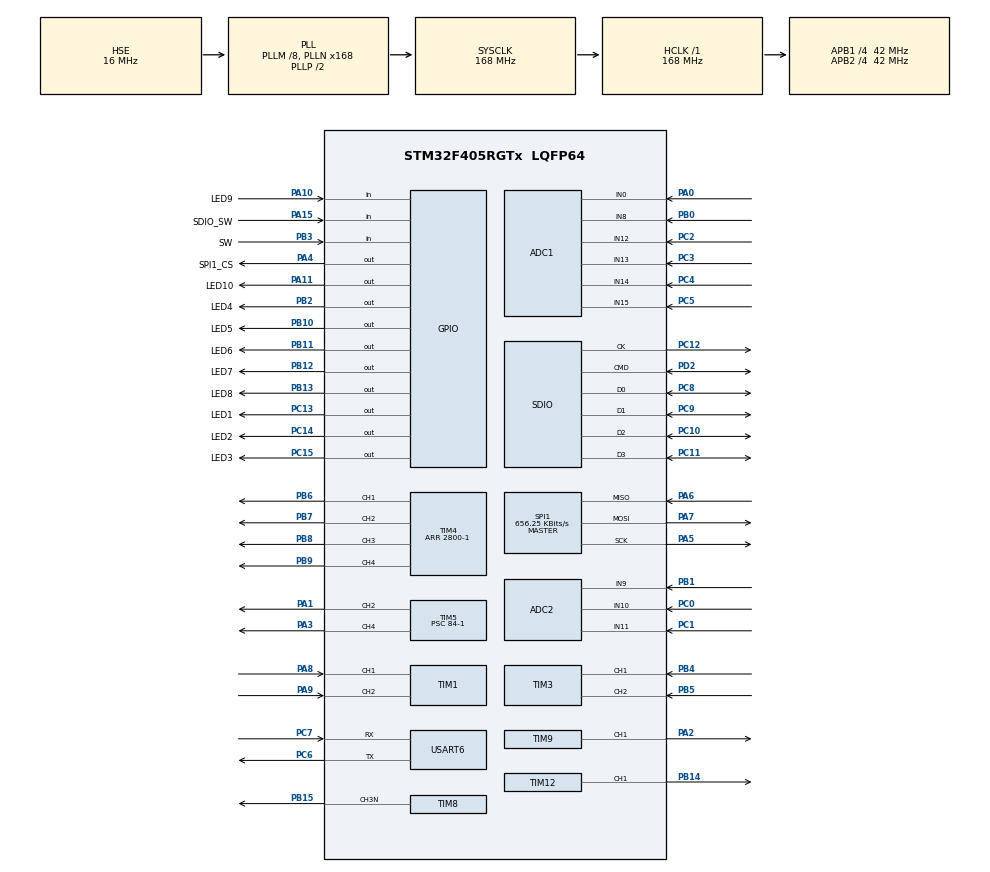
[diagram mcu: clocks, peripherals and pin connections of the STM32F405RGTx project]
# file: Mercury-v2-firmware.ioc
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ADC1.Channel-0\#ChannelRegularConversion=ADC_CHANNEL_14
ADC1.Channel-1\#ChannelRegularConversion=ADC_CHANNEL_15
ADC1.Channel-2\#ChannelRegularConversion=ADC_CHANNEL_8
ADC1.Channel-3\#ChannelRegularConversion=ADC_CHANNEL_0
ADC1.Channel-4\#ChannelRegularConversion=ADC_CHANNEL_13
ADC1.Channel-5\#ChannelRegularConversion=ADC_CHANNEL_12
ADC1.ClockPrescaler=ADC_CLOCK_SYNC_PCLK_DIV4
ADC1.ContinuousConvMode=ENABLE
ADC1.DMAContinuousRequests=ENABLE
ADC1.EOCSelection=ADC_EOC_SEQ_CONV
ADC1.NbrOfConversion=6
ADC1.NbrOfConversionFlag=1
ADC1.Rank-0\#ChannelRegularConversion=1
ADC1.Rank-1\#ChannelRegularConversion=2
ADC1.Rank-2\#ChannelRegularConversion=3
ADC1.Rank-3\#ChannelRegularConversion=4
ADC1.Rank-4\#ChannelRegularConversion=5
ADC1.Rank-5\#ChannelRegularConversion=6
ADC1.SamplingTime-0\#ChannelRegularConversion=ADC_SAMPLETIME_15CYCLES
ADC1.SamplingTime-1\#ChannelRegularConversion=ADC_SAMPLETIME_15CYCLES
ADC1.SamplingTime-2\#ChannelRegularConversion=ADC_SAMPLETIME_15CYCLES
ADC1.SamplingTime-3\#ChannelRegularConversion=ADC_SAMPLETIME_15CYCLES
ADC1.SamplingTime-4\#ChannelRegularConversion=ADC_SAMPLETIME_15CYCLES
ADC1.SamplingTime-5\#ChannelRegularConversion=ADC_SAMPLETIME_15CYCLES
ADC1.master=1
ADC2.Channel-0\#ChannelRegularConversion=ADC_CHANNEL_9
ADC2.Channel-1\#ChannelRegularConversion=ADC_CHANNEL_10
ADC2.Channel-2\#ChannelRegularConversion=ADC_CHANNEL_11
ADC2.ClockPrescaler=ADC_CLOCK_SYNC_PCLK_DIV4
ADC2.ContinuousConvMode=ENABLE
ADC2.DMAContinuousRequests=ENABLE
ADC2.EOCSelection=ADC_EOC_SEQ_CONV
ADC2.NbrOfConversion=3
ADC2.NbrOfConversionFlag=1
ADC2.Rank-0\#ChannelRegularConversion=1
ADC2.Rank-1\#ChannelRegularConversion=2
ADC2.Rank-2\#ChannelRegularConversion=3
ADC2.SamplingTime-0\#ChannelRegularConversion=ADC_SAMPLETIME_28CYCLES
ADC2.SamplingTime-1\#ChannelRegularConversion=ADC_SAMPLETIME_28CYCLES
ADC2.SamplingTime-2\#ChannelRegularConversion=ADC_SAMPLETIME_15CYCLES
ADC2.ScanConvMode=ENABLE
Dma.ADC1.0.Direction=DMA_PERIPH_TO_MEMORY
Dma.ADC1.0.FIFOMode=DMA_FIFOMODE_DISABLE
Dma.ADC1.0.Instance=DMA2_Stream0
Dma.ADC1.0.MemDataAlignment=DMA_MDATAALIGN_HALFWORD
Dma.ADC1.0.MemInc=DMA_MINC_ENABLE
Dma.ADC1.0.Mode=DMA_CIRCULAR
Dma.ADC1.0.PeriphDataAlignment=DMA_PDATAALIGN_HALFWORD
Dma.ADC1.0.PeriphInc=DMA_PINC_DISABLE
Dma.ADC1.0.Priority=DMA_PRIORITY_LOW
Dma.ADC2.1.Direction=DMA_PERIPH_TO_MEMORY
Dma.ADC2.1.FIFOMode=DMA_FIFOMODE_DISABLE
Dma.ADC2.1.Instance=DMA2_Stream2
Dma.ADC2.1.MemDataAlignment=DMA_MDATAALIGN_HALFWORD
Dma.ADC2.1.MemInc=DMA_MINC_ENABLE
Dma.ADC2.1.Mode=DMA_CIRCULAR
Dma.ADC2.1.PeriphDataAlignment=DMA_PDATAALIGN_HALFWORD
Dma.ADC2.1.PeriphInc=DMA_PINC_DISABLE
Dma.ADC2.1.Priority=DMA_PRIORITY_LOW
Dma.Request0=ADC1
Dma.Request1=ADC2
Dma.Request2=SDIO_RX
Dma.Request3=SDIO_TX
Dma.SDIO_RX.2.Direction=DMA_PERIPH_TO_MEMORY
Dma.SDIO_RX.2.FIFOMode=DMA_FIFOMODE_ENABLE
Dma.SDIO_RX.2.FIFOThreshold=DMA_FIFO_THRESHOLD_FULL
Dma.SDIO_RX.2.Instance=DMA2_Stream3
Dma.SDIO_RX.2.MemBurst=DMA_MBURST_INC4
Dma.SDIO_RX.2.MemDataAlignment=DMA_MDATAALIGN_WORD
Dma.SDIO_RX.2.MemInc=DMA_MINC_ENABLE
Dma.SDIO_RX.2.Mode=DMA_PFCTRL
Dma.SDIO_RX.2.PeriphBurst=DMA_PBURST_INC4
Dma.SDIO_RX.2.PeriphDataAlignment=DMA_PDATAALIGN_WORD
Dma.SDIO_RX.2.PeriphInc=DMA_PINC_DISABLE
Dma.SDIO_RX.2.Priority=DMA_PRIORITY_LOW
Dma.SDIO_TX.3.Direction=DMA_MEMORY_TO_PERIPH
Dma.SDIO_TX.3.FIFOMode=DMA_FIFOMODE_ENABLE
Dma.SDIO_TX.3.FIFOThreshold=DMA_FIFO_THRESHOLD_FULL
Dma.SDIO_TX.3.Instance=DMA2_Stream6
Dma.SDIO_TX.3.MemBurst=DMA_MBURST_INC4
Dma.SDIO_TX.3.MemDataAlignment=DMA_MDATAALIGN_WORD
Dma.SDIO_TX.3.MemInc=DMA_MINC_ENABLE
Dma.SDIO_TX.3.Mode=DMA_PFCTRL
Dma.SDIO_TX.3.PeriphBurst=DMA_PBURST_INC4
Dma.SDIO_TX.3.PeriphDataAlignment=DMA_PDATAALIGN_WORD
Dma.SDIO_TX.3.PeriphInc=DMA_PINC_DISABLE
Dma.SDIO_TX.3.Priority=DMA_PRIORITY_LOW
FATFS.BSP.number=1
FATFS.USE_DMA_CODE_SD=1
FATFS._MAX_SS=4096
FATFS0.BSP.STBoard=false
FATFS0.BSP.api=Unknown
FATFS0.BSP.instance=PA15
FATFS0.BSP.ip=GPIO
FATFS0.BSP.mode=Input
FATFS0.BSP.name=Detect_SDIO
FATFS0.BSP.solution=PA15
Mcu.Family=STM32F4
Mcu.Name=STM32F405RGTx
Mcu.Package=LQFP64
NVIC.DMA2_Stream0_IRQn=true\:0\:0\:false\:false\:true\:false\:true\:true
NVIC.DMA2_Stream2_IRQn=true\:0\:0\:false\:false\:true\:false\:true\:true
NVIC.DMA2_Stream3_IRQn=true\:0\:0\:false\:false\:true\:false\:true\:true
NVIC.DMA2_Stream6_IRQn=true\:0\:0\:false\:false\:true\:false\:true\:true
NVIC.PriorityGroup=NVIC_PRIORITYGROUP_4
NVIC.SDIO_IRQn=true\:0\:0\:false\:false\:true\:true\:true\:true
NVIC.SPI1_IRQn=true\:0\:0\:false\:false\:true\:true\:true\:true
NVIC.TIM1_UP_TIM10_IRQn=true\:0\:0\:false\:false\:true\:true\:true\:true
NVIC.TIM2_IRQn=true\:0\:0\:false\:false\:true\:true\:true\:true
NVIC.TIM6_DAC_IRQn=true\:15\:0\:false\:false\:true\:false\:true\:true
NVIC.TimeBase=TIM6_DAC_IRQn
NVIC.TimeBaseIP=TIM6
PA0-WKUP.Signal=ADCx_IN0
PA1.Signal=S_TIM5_CH2
PA10.GPIO_Label=LED9
PA10.Signal=GPIO_Input
PA11.GPIO_Label=LED10
PA11.Signal=GPIO_Output
PA13.Mode=Serial_Wire
PA13.Signal=SYS_JTMS-SWDIO
PA14.Mode=Serial_Wire
PA14.Signal=SYS_JTCK-SWCLK
PA15.GPIO_Label=SDIO_SW
PA15.GPIO_PuPd=GPIO_PULLUP
PA15.Signal=GPIO_Input
PA2.Signal=S_TIM9_CH1
PA3.Signal=S_TIM5_CH4
PA4.GPIO_Label=SPI1_CS
PA4.GPIO_PuPd=GPIO_PULLUP
PA4.Signal=GPIO_Output
PA5.Mode=Full_Duplex_Master
PA5.Signal=SPI1_SCK
PA6.Mode=Full_Duplex_Master
PA6.Signal=SPI1_MISO
PA7.Mode=Full_Duplex_Master
PA7.Signal=SPI1_MOSI
PA8.Signal=S_TIM1_CH1
PA9.Signal=S_TIM1_CH2
PB0.Signal=ADCx_IN8
PB1.Signal=ADCx_IN9
PB10.GPIO_Label=LED5
PB10.Signal=GPIO_Output
PB11.GPIO_Label=LED6
PB11.Signal=GPIO_Output
PB12.GPIO_Label=LED7
PB12.Signal=GPIO_Output
PB13.GPIO_Label=LED8
PB13.Signal=GPIO_Output
PB14.Signal=S_TIM12_CH1
PB15.Mode=PWM Generation3 CH3N
PB15.Signal=TIM8_CH3N
PB2.GPIO_Label=LED4
PB2.Signal=GPIO_Output
PB3.GPIO_Label=SW
PB3.Signal=GPIO_Input
PB4.Signal=S_TIM3_CH1
PB5.Signal=S_TIM3_CH2
PB6.Signal=S_TIM4_CH1
PB7.Signal=S_TIM4_CH2
PB8.Signal=S_TIM4_CH3
PB9.Signal=S_TIM4_CH4
PC0.Signal=ADCx_IN10
PC1.Signal=ADCx_IN11
PC10.GPIO_PuPd=GPIO_PULLUP
PC10.Mode=SD_4_bits_Wide_bus
PC10.Signal=SDIO_D2
PC11.GPIO_PuPd=GPIO_PULLUP
PC11.Mode=SD_4_bits_Wide_bus
PC11.Signal=SDIO_D3
PC12.Mode=SD_4_bits_Wide_bus
PC12.Signal=SDIO_CK
PC13-ANTI_TAMP.GPIO_Label=LED1
PC13-ANTI_TAMP.Signal=GPIO_Output
PC14-OSC32_IN.GPIO_Label=LED2
PC14-OSC32_IN.Signal=GPIO_Output
PC15-OSC32_OUT.GPIO_Label=LED3
PC15-OSC32_OUT.Signal=GPIO_Output
PC2.Signal=ADCx_IN12
PC3.Signal=ADCx_IN13
PC4.Signal=ADCx_IN14
PC5.Signal=ADCx_IN15
PC6.Mode=Asynchronous
PC6.Signal=USART6_TX
PC7.Mode=Asynchronous
PC7.Signal=USART6_RX
PC8.GPIO_PuPd=GPIO_PULLUP
PC8.Mode=SD_4_bits_Wide_bus
PC8.Signal=SDIO_D0
PC9.GPIO_PuPd=GPIO_PULLUP
PC9.Mode=SD_4_bits_Wide_bus
PC9.Signal=SDIO_D1
PD2.GPIO_PuPd=GPIO_PULLUP
PD2.Mode=SD_4_bits_Wide_bus
PD2.Signal=SDIO_CMD
PH0-OSC_IN.Mode=HSE-External-Oscillator
PH0-OSC_IN.Signal=RCC_OSC_IN
PH1-OSC_OUT.Mode=HSE-External-Oscillator
PH1-OSC_OUT.Signal=RCC_OSC_OUT
ProjectManager.HeapSize=0x200
ProjectManager.StackSize=0x400
ProjectManager.TargetToolchain=Makefile
RCC.48MHZClocksFreq_Value=48000000
RCC.AHBFreq_Value=168000000
RCC.APB1CLKDivider=RCC_HCLK_DIV4
RCC.APB1Freq_Value=42000000
RCC.APB1TimFreq_Value=84000000
RCC.APB2CLKDivider=RCC_HCLK_DIV4
RCC.APB2Freq_Value=42000000
RCC.APB2TimFreq_Value=84000000
RCC.CortexFreq_Value=168000000
RCC.HCLKFreq_Value=168000000
RCC.HSE_VALUE=16000000
RCC.HSI_VALUE=16000000
RCC.LSE_VALUE=32768
RCC.PLLM=8
RCC.PLLN=168
RCC.PLLQ=7
RCC.PLLSourceVirtual=RCC_PLLSOURCE_HSE
RCC.SYSCLKFreq_VALUE=168000000
RCC.SYSCLKSource=RCC_SYSCLKSOURCE_PLLCLK
RCC.VCOOutputFreq_Value=336000000
SDIO.ClockDiv=20
SH.ADCx_IN0.0=ADC1_IN0,IN0
SH.ADCx_IN10.0=ADC2_IN10,IN10
SH.ADCx_IN11.0=ADC2_IN11,IN11
SH.ADCx_IN12.0=ADC1_IN12,IN12
SH.ADCx_IN13.0=ADC1_IN13,IN13
SH.ADCx_IN14.0=ADC1_IN14,IN14
SH.ADCx_IN15.0=ADC1_IN15,IN15
SH.ADCx_IN8.0=ADC1_IN8,IN8
SH.ADCx_IN9.0=ADC2_IN9,IN9
SH.S_TIM12_CH1.0=TIM12_CH1,PWM Generation1 CH1
SH.S_TIM1_CH1.0=TIM1_CH1,Encoder_Interface
SH.S_TIM1_CH2.0=TIM1_CH2,Encoder_Interface
SH.S_TIM3_CH1.0=TIM3_CH1,Encoder_Interface
SH.S_TIM3_CH2.0=TIM3_CH2,Encoder_Interface
SH.S_TIM4_CH1.0=TIM4_CH1,PWM Generation1 CH1
SH.S_TIM4_CH2.0=TIM4_CH2,PWM Generation2 CH2
SH.S_TIM4_CH3.0=TIM4_CH3,PWM Generation3 CH3
SH.S_TIM4_CH4.0=TIM4_CH4,PWM Generation4 CH4
SH.S_TIM5_CH2.0=TIM5_CH2,PWM Generation2 CH2
SH.S_TIM5_CH4.0=TIM5_CH4,PWM Generation4 CH4
SH.S_TIM9_CH1.0=TIM9_CH1,PWM Generation1 CH1
SPI1.BaudRatePrescaler=SPI_BAUDRATEPRESCALER_64
SPI1.CLKPhase=SPI_PHASE_2EDGE
SPI1.CLKPolarity=SPI_POLARITY_HIGH
SPI1.CalculateBaudRate=656.25 KBits/s
SPI1.Direction=SPI_DIRECTION_2LINES
SPI1.Mode=SPI_MODE_MASTER
SPI1.VirtualType=VM_MASTER
TIM10.Period=100-1
TIM10.Prescaler=10-1
TIM11.Period=100-1
TIM11.Prescaler=84-1
TIM12.Channel-PWM\ Generation1\ CH1=TIM_CHANNEL_1
TIM12.Period=4200-1
TIM2.Period=1000-1
TIM2.Prescaler=84-1
TIM4.Channel-PWM\ Generation1\ CH1=TIM_CHANNEL_1
TIM4.Channel-PWM\ Generation2\ CH2=TIM_CHANNEL_2
TIM4.Channel-PWM\ Generation3\ CH3=TIM_CHANNEL_3
TIM4.Channel-PWM\ Generation4\ CH4=TIM_CHANNEL_4
TIM4.Period=2800-1
TIM5.Channel-PWM\ Generation2\ CH2=TIM_CHANNEL_2
TIM5.Channel-PWM\ Generation4\ CH4=TIM_CHANNEL_4
TIM5.Period=100-1
TIM5.Prescaler=84-1
TIM8.AutomaticOutput=TIM_AUTOMATICOUTPUT_DISABLE
TIM8.Channel-PWM\ Generation3\ CH3N=TIM_CHANNEL_3
TIM8.OCNIdleState_3=TIM_OCNIDLESTATE_RESET
TIM8.Period=1000-1
TIM8.Prescaler=84-1
TIM8.TIM_MasterOutputTrigger=TIM_TRGO_RESET
TIM9.Channel-PWM\ Generation1\ CH1=TIM_CHANNEL_1
TIM9.Period=100-1
TIM9.Prescaler=84-1
USART6.VirtualMode=VM_ASYNC
VP_FATFS_VS_SDIO.Mode=SDIO
VP_SYS_VS_tim6.Mode=TIM6
VP_TIM10_VS_ClockSourceINT.Mode=Enable_Timer
VP_TIM11_VS_ClockSourceINT.Mode=Enable_Timer
VP_TIM2_VS_ClockSourceINT.Mode=Internal
board=custom

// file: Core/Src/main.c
/* USER CODE BEGIN Header */
/**
 ******************************************************************************
 * @file           : main.c
 * @brief          : Main program body
 ******************************************************************************
 * @attention
 *
 * Copyright (c) 2024 STMicroelectronics.
 * All rights reserved.
 *
 * This software is licensed under terms that can be found in the LICENSE file
 * in the root directory of this software component.
 * If no LICENSE file comes with this software, it is provided AS-IS.
 *
 ******************************************************************************
 */
/* USER CODE END Header */
#include "main.h"
#include "adc.h"
#include "dma.h"
#include "fatfs.h"
#include "sdio.h"
#include "spi.h"
#include "tim.h"
#include "usart.h"
#include "gpio.h"

/* USER CODE BEGIN Includes */
#include "SEGGER_RTT.h"
#include "main_exec.h"

/* USER CODE END Includes */

void SystemClock_Config(void);

int main(void)
{

  /* MCU Configuration--------------------------------------------------------*/

  /* Reset of all peripherals, Initializes the Flash interface and the Systick. */
  HAL_Init();

  /* Configure the system clock */
  SystemClock_Config();

  /* Initialize all configured peripherals */
  MX_GPIO_Init();
  MX_DMA_Init();
  MX_ADC1_Init();
  MX_TIM1_Init();
  MX_TIM3_Init();
  MX_TIM4_Init();
  MX_ADC2_Init();
  MX_TIM10_Init();
  MX_TIM11_Init();
  MX_SDIO_SD_Init();
  MX_SPI1_Init();
  MX_TIM2_Init();
  MX_USART6_UART_Init();
  MX_FATFS_Init();
  MX_TIM12_Init();
  MX_TIM8_Init();
  MX_TIM5_Init();
  MX_TIM9_Init();
  /* USER CODE BEGIN 2 */
  SEGGER_RTT_Init();
  setbuf(stdout, NULL);
  HAL_TIM_Encoder_Start(&htim1, TIM_CHANNEL_ALL);
  HAL_TIM_Encoder_Start(&htim3, TIM_CHANNEL_ALL);
  HAL_TIM_PWM_Start(&htim4, TIM_CHANNEL_1);
  HAL_TIM_PWM_Start(&htim4, TIM_CHANNEL_2);
  HAL_TIM_PWM_Start(&htim4, TIM_CHANNEL_3);
  HAL_TIM_PWM_Start(&htim4, TIM_CHANNEL_4);
  HAL_TIM_PWM_Start(&htim5, TIM_CHANNEL_2);
  HAL_TIM_PWM_Start(&htim5, TIM_CHANNEL_4);
  HAL_TIMEx_PWMN_Start(&htim8, TIM_CHANNEL_3);
  HAL_TIM_PWM_Start(&htim9, TIM_CHANNEL_1);
  HAL_TIM_PWM_Start(&htim12, TIM_CHANNEL_1);

  // SdioTest();

  StartupProcess();

  HAL_TIM_Base_Start_IT(&htim2);
  HAL_TIM_Base_Start_IT(&htim10);
  /* USER CODE END 2 */

  /* Infinite loop */
  while (1) {

    /* USER CODE BEGIN 3 */
    StateProcess();
  }
  /* USER CODE END 3 */
}

void SystemClock_Config(void)
{
  RCC_OscInitTypeDef RCC_OscInitStruct = {0};
  RCC_ClkInitTypeDef RCC_ClkInitStruct = {0};

  /** Configure the main internal regulator output voltage
  */
  __HAL_RCC_PWR_CLK_ENABLE();
  __HAL_PWR_VOLTAGESCALING_CONFIG(PWR_REGULATOR_VOLTAGE_SCALE1);

  /** Initializes the RCC Oscillators according to the specified parameters
  * in the RCC_OscInitTypeDef structure.
  */
  RCC_OscInitStruct.OscillatorType = RCC_OSCILLATORTYPE_HSE;
  RCC_OscInitStruct.HSEState = RCC_HSE_ON;
  RCC_OscInitStruct.PLL.PLLState = RCC_PLL_ON;
  RCC_OscInitStruct.PLL.PLLSource = RCC_PLLSOURCE_HSE;
  RCC_OscInitStruct.PLL.PLLM = 8;
  RCC_OscInitStruct.PLL.PLLN = 168;
  RCC_OscInitStruct.PLL.PLLP = RCC_PLLP_DIV2;
  RCC_OscInitStruct.PLL.PLLQ = 7;
  if (HAL_RCC_OscConfig(&RCC_OscInitStruct) != HAL_OK)
  {
    Error_Handler();
  }

  /** Initializes the CPU, AHB and APB buses clocks
  */
  RCC_ClkInitStruct.ClockType = RCC_CLOCKTYPE_HCLK|RCC_CLOCKTYPE_SYSCLK
                              |RCC_CLOCKTYPE_PCLK1|RCC_CLOCKTYPE_PCLK2;
  RCC_ClkInitStruct.SYSCLKSource = RCC_SYSCLKSOURCE_PLLCLK;
  RCC_ClkInitStruct.AHBCLKDivider = RCC_SYSCLK_DIV1;
  RCC_ClkInitStruct.APB1CLKDivider = RCC_HCLK_DIV4;
  RCC_ClkInitStruct.APB2CLKDivider = RCC_HCLK_DIV4;

  if (HAL_RCC_ClockConfig(&RCC_ClkInitStruct, FLASH_LATENCY_5) != HAL_OK)
  {
    Error_Handler();
  }
}

/* USER CODE BEGIN 4 */
int cnt1kHz = 0;
/* USER CODE END 4 */

void HAL_TIM_PeriodElapsedCallback(TIM_HandleTypeDef *htim)
{
  if (htim->Instance == TIM6)
  {
    HAL_IncTick();
  }
  /* USER CODE BEGIN Callback 1 */
  if (GetInterruptionFlag()) {
    if (htim->Instance == TIM2) // interruption 1kHz
    {
      cnt1kHz = (cnt1kHz + 1) % 1000;

      UpdateMovement();

      // if (cnt1kHz % 200 == 0) // interruption 5Hz
      if (cnt1kHz % 20 == 0) // interruption 50Hz
        PrintLog();

      if (cnt1kHz == 0) // interruption 1Hz
      {
        if (GetStartCountFlag())
          cnt1Hz++;
        Toggle_GPIO(LED_GREEN);
      }
    } else if (htim->Instance == TIM10) // interruption 84kHz
      UpdateIRSensor();
  } else
    CheckMazeFlashFlag();
  /* USER CODE END Callback 1 */
}

void Error_Handler(void)
{
  __disable_irq();
  while (1) {
  }
}

#ifdef  USE_FULL_ASSERT
/**
  * @brief  Reports the name of the source file and the source line number
  *         where the assert_param error has occurred.
  * @param  file: pointer to the source file name
  * @param  line: assert_param error line source number
  * @retval None
  */
void assert_failed(uint8_t *file, uint32_t line)
{
  /* USER CODE BEGIN 6 */
  /* User can add his own implementation to report the file name and line
     number, ex: printf("Wrong parameters value: file %s on line %d\r\n", file,
     line) */
  /* USER CODE END 6 */
}
#endif /* USE_FULL_ASSERT */
